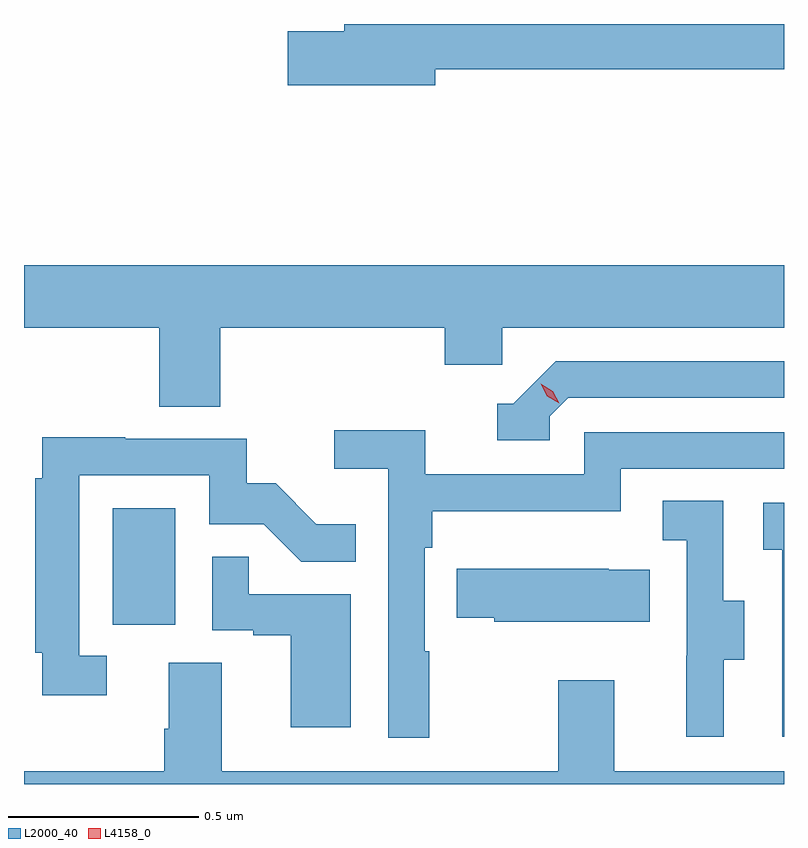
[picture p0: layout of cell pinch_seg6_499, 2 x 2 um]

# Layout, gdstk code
import gdstk
lib = gdstk.Library(unit=1e-6, precision=1e-09)
def R(c, l, rs):  # rectangles x0, y0, x1, y1
    for r in rs: c.add(gdstk.rectangle(r[:2], r[2:], *l))
def P(c, l, *ps):  # polygons
    for p in ps: c.add(gdstk.Polygon(p, *l))
L2000_40 = (2000, 40)
L4158_0 = (4158, 0)

pinch_seg6_499 = lib.new_cell('pinch_seg6_499')
R(pinch_seg6_499, L2000_40, [(848.858,931.902,849.022,932.209)])
P(pinch_seg6_499, L2000_40, [(849.706,933.364),(850.624,933.364),(850.624,933.483),(849.467,933.483),(849.467,933.464),(849.318,933.464),(849.318,933.322),(849.706,933.322)],
  [(848.624,932.684),(848.98,932.684),(848.98,932.476),(849.14,932.476),(849.14,932.684),(849.731,932.684),(849.731,932.586),(849.882,932.586),(849.882,932.684),(850.624,932.684),(850.624,932.848),(848.624,932.848)],
  [(850.008,932.451),(850.056,932.499),(850.624,932.499),(850.624,932.595),(850.023,932.595),(849.912,932.484),(849.869,932.484),(849.869,932.388),(850.008,932.388)],
  [(849.691,931.832),(849.678,931.832),(849.678,932.105),(849.698,932.105),(849.698,932.201),(850.194,932.201),(850.194,932.313),(850.624,932.313),(850.624,932.409),(850.098,932.409),(850.098,932.298),(849.68,932.298),(849.68,932.414),(849.441,932.414),(849.441,932.312),(849.582,932.312),(849.582,931.605),(849.691,931.605)],
  [(848.842,931.821),(848.769,931.821),(848.769,932.295),(849.111,932.295),(849.111,932.166),(849.255,932.166),(849.353,932.068),(849.497,932.068),(849.497,932.167),(849.393,932.167),(849.286,932.274),(849.21,932.274),(849.21,932.391),(848.891,932.391),(848.891,932.396),(848.672,932.396),(848.672,932.288),(848.653,932.288),(848.653,931.828),(848.672,931.828),(848.672,931.716),(848.842,931.716)],
  [(850.465,931.81),(850.519,931.81),(850.519,931.965),(850.464,931.965),(850.464,932.228),(850.305,932.228),(850.305,932.125),(850.368,932.125),(850.368,931.821),(850.367,931.821),(850.367,931.608),(850.465,931.608)],
  [(850.624,932.223),(850.569,932.223),(850.569,932.099),(850.62,932.099),(850.62,931.608),(850.624,931.608)],
  [(849.484,931.983),(849.215,931.983),(849.215,932.081),(849.12,932.081),(849.12,931.887),(849.227,931.887),(849.227,931.875),(849.326,931.875),(849.326,931.632),(849.484,931.632)],
  [(850.271,932.047),(850.163,932.047),(850.163,932.05),(849.763,932.05),(849.763,931.921),(849.861,931.921),(849.861,931.91),(850.271,931.91)],
  [(850.624,931.516),(850.177,931.516),(850.177,931.756),(850.03,931.756),(850.03,931.516),(849.145,931.516),(849.145,931.802),(849.005,931.802),(849.005,931.628),(848.993,931.628),(848.993,931.516),(848.624,931.516),(848.624,931.483),(850.624,931.483)])
P(pinch_seg6_499, L4158_0, [(850.032,932.485),(850.001,932.504),(849.984,932.536),(849.984,932.536),(849.984,932.536),(850.015,932.517),(850.032,932.485),(850.032,932.485)])

lib.write_gds('pinch_seg6_499.gds')
